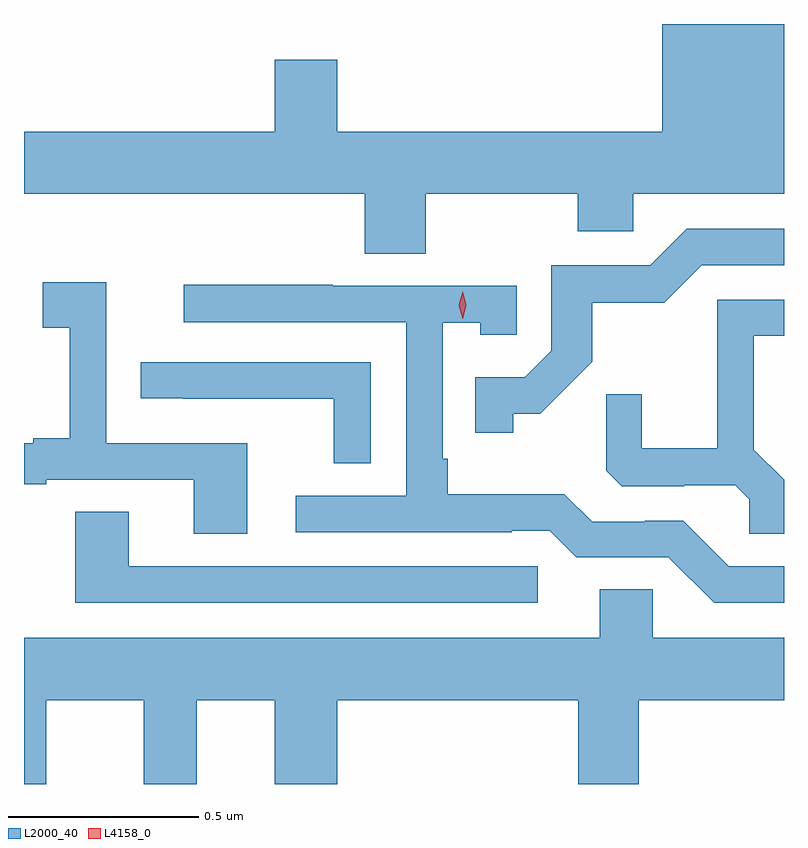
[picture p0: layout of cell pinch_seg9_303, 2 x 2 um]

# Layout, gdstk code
import gdstk
lib = gdstk.Library(unit=1e-6, precision=1e-09)
def P(c, l, *ps):  # polygons
    for p in ps: c.add(gdstk.Polygon(p, *l))
L2000_40 = (2000, 40)
L4158_0 = (4158, 0)

pinch_seg9_303 = lib.new_cell('pinch_seg9_303')
P(pinch_seg9_303, L2000_40, [(513.057,1200.416),(513.457,1200.416),(513.457,1200.318),(513.603,1200.318),(513.603,1200.416),(514,1200.416),(514,1200.863),(513.68,1200.863),(513.68,1200.58),(512.824,1200.58),(512.824,1200.769),(512.66,1200.769),(512.66,1200.58),(512,1200.58),(512,1200.416),(512.897,1200.416),(512.897,1200.259),(513.057,1200.259)],
  [(513.288,1199.837),(513.358,1199.837),(513.496,1199.974),(513.496,1200.13),(513.685,1200.13),(513.783,1200.228),(514,1200.228),(514,1200.324),(513.744,1200.324),(513.648,1200.228),(513.387,1200.228),(513.387,1200.003),(513.318,1199.934),(513.187,1199.934),(513.187,1199.787),(513.288,1199.787)],
  [(512.587,1199.76),(512.217,1199.76),(512.217,1200.184),(512.049,1200.184),(512.049,1200.064),(512.12,1200.064),(512.12,1199.773),(512.024,1199.773),(512.024,1199.76),(512,1199.76),(512,1199.652),(512.059,1199.652),(512.059,1199.664),(512.447,1199.664),(512.447,1199.521),(512.587,1199.521)],
  [(514,1199.436),(513.855,1199.436),(513.735,1199.556),(513.634,1199.556),(513.634,1199.553),(513.495,1199.553),(513.422,1199.626),(513.115,1199.626),(513.115,1199.719),(513.102,1199.719),(513.102,1200.077),(513.201,1200.077),(513.201,1200.045),(513.297,1200.045),(513.297,1200.174),(512.813,1200.174),(512.813,1200.177),(512.421,1200.177),(512.421,1200.078),(513.006,1200.078),(513.006,1199.622),(512.715,1199.622),(512.715,1199.526),(513.284,1199.526),(513.284,1199.529),(513.384,1199.529),(513.453,1199.46),(513.696,1199.46),(513.816,1199.34),(514,1199.34)],
  [(514,1199.664),(513.921,1199.743),(513.921,1200.042),(514,1200.042),(514,1200.138),(513.824,1200.138),(513.824,1199.746),(513.626,1199.746),(513.626,1199.889),(513.532,1199.889),(513.532,1199.687),(513.573,1199.646),(513.738,1199.646),(513.738,1199.649),(513.872,1199.649),(513.909,1199.612),(513.909,1199.521),(514,1199.521)],
  [(512.913,1199.973),(512.307,1199.973),(512.307,1199.878),(512.419,1199.878),(512.419,1199.877),(512.815,1199.877),(512.815,1199.707),(512.913,1199.707)],
  [(513.352,1199.436),(512.275,1199.436),(512.275,1199.579),(512.135,1199.579),(512.135,1199.34),(513.352,1199.34)],
  [(512.059,1199.084),(512.315,1199.084),(512.315,1198.863),(512.455,1198.863),(512.455,1199.084),(512.66,1199.084),(512.66,1198.863),(512.824,1198.863),(512.824,1199.084),(513.458,1199.084),(513.458,1198.863),(513.618,1198.863),(513.618,1199.084),(514,1199.084),(514,1199.248),(513.654,1199.248),(513.654,1199.375),(513.515,1199.375),(513.515,1199.248),(512,1199.248),(512,1198.863),(512.059,1198.863)])
P(pinch_seg9_303, L4158_0, [(513.154,1200.087),(513.154,1200.087),(513.144,1200.123),(513.155,1200.159),(513.155,1200.159),(513.155,1200.159),(513.164,1200.123),(513.154,1200.087)])

lib.write_gds('pinch_seg9_303.gds')
